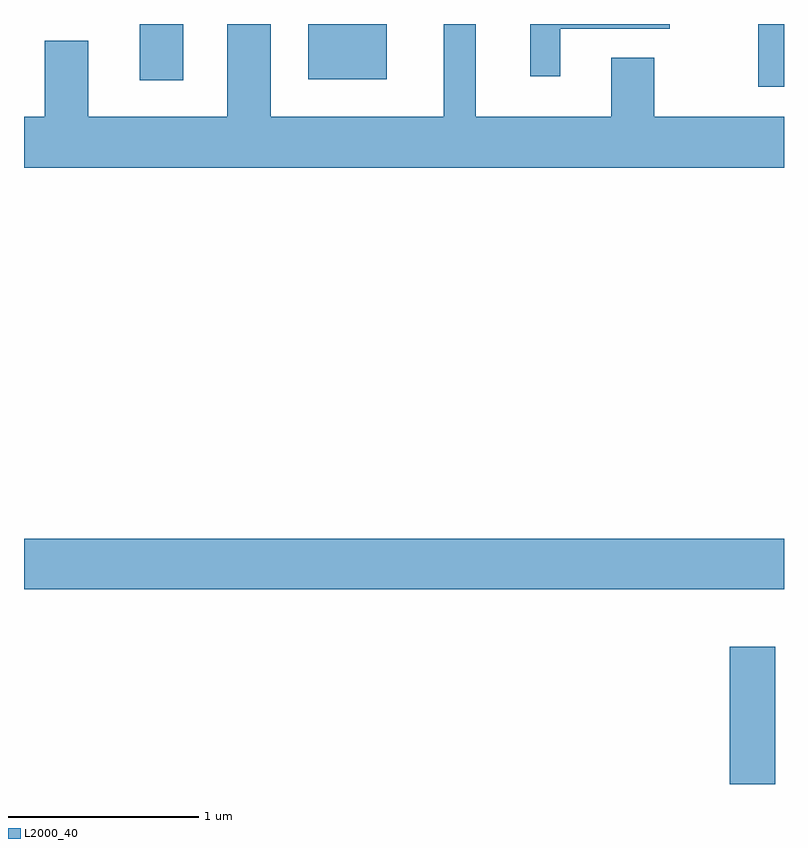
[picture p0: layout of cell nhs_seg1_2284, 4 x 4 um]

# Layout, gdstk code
import gdstk
lib = gdstk.Library(unit=1e-6, precision=1e-09)
def R(c, l, rs):  # rectangles x0, y0, x1, y1
    for r in rs: c.add(gdstk.rectangle(r[:2], r[2:], *l))
def P(c, l, *ps):  # polygons
    for p in ps: c.add(gdstk.Polygon(p, *l))
L2000_40 = (2000, 40)

nhs_seg1_2284 = lib.new_cell('nhs_seg1_2284')
R(nhs_seg1_2284, L2000_40, [(259.326,849.712,259.564,850.434), (255.611,850.736,259.611,851.004), (259.476,853.381,259.611,853.712), (256.221,853.416,256.449,853.712), (257.106,853.421,257.519,853.712)])
P(nhs_seg1_2284, L2000_40, [(259.611,853.224),(258.929,853.224),(258.929,853.534),(258.701,853.534),(258.701,853.224),(257.989,853.224),(257.989,853.712),(257.821,853.712),(257.821,853.224),(256.909,853.224),(256.909,853.712),(256.681,853.712),(256.681,853.224),(255.949,853.224),(255.949,853.624),(255.721,853.624),(255.721,853.224),(255.611,853.224),(255.611,852.956),(259.611,852.956)],
  [(258.434,853.686),(259.009,853.686),(259.009,853.712),(258.276,853.712),(258.276,853.438),(258.434,853.438)])

lib.write_gds('nhs_seg1_2284.gds')
